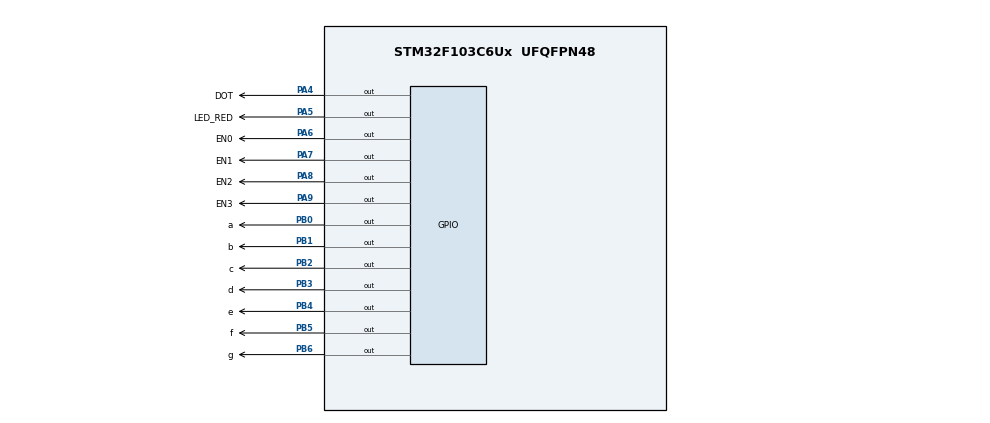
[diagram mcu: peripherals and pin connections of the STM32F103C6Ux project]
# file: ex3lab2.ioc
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Mcu.Family=STM32F1
Mcu.Name=STM32F103C6Ux
Mcu.Package=UFQFPN48
NVIC.PriorityGroup=NVIC_PRIORITYGROUP_4
NVIC.TIM2_IRQn=true\:0\:0\:false\:false\:true\:true\:true
PA4.GPIO_Label=DOT
PA4.Signal=GPIO_Output
PA5.GPIO_Label=LED_RED
PA5.Signal=GPIO_Output
PA6.GPIO_Label=EN0
PA6.Signal=GPIO_Output
PA7.GPIO_Label=EN1
PA7.Signal=GPIO_Output
PA8.GPIO_Label=EN2
PA8.Signal=GPIO_Output
PA9.GPIO_Label=EN3
PA9.Signal=GPIO_Output
PB0.GPIO_Label=a
PB0.Signal=GPIO_Output
PB1.GPIO_Label=b
PB1.Signal=GPIO_Output
PB2.GPIO_Label=c
PB2.Signal=GPIO_Output
PB3.GPIO_Label=d
PB3.Signal=GPIO_Output
PB4.GPIO_Label=e
PB4.Signal=GPIO_Output
PB5.GPIO_Label=f
PB5.Signal=GPIO_Output
PB6.GPIO_Label=g
PB6.Signal=GPIO_Output
ProjectManager.HeapSize=0x200
ProjectManager.StackSize=0x400
ProjectManager.TargetToolchain=STM32CubeIDE
RCC.APB1Freq_Value=8000000
RCC.APB2Freq_Value=8000000
TIM2.Period=9
TIM2.Prescaler=7999
VP_SYS_VS_ND.Mode=No_Debug
VP_TIM2_VS_ClockSourceINT.Mode=Internal
board=custom

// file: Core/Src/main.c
/* USER CODE BEGIN Header */
/**
  ******************************************************************************
  * @file           : main.c
  * @brief          : Main program body
  ******************************************************************************
  * @attention
  *
  * <h2><center>&copy; Copyright (c) 2024 STMicroelectronics.
  * All rights reserved.</center></h2>
  *
  * This software component is licensed by ST under BSD 3-Clause license,
  * the "License"; You may not use this file except in compliance with the
  * License. You may obtain a copy of the License at:
  *                        opensource.org/licenses/BSD-3-Clause
  *
  ******************************************************************************
  */
/* USER CODE END Header */
#include "main.h"

TIM_HandleTypeDef htim2;

void SystemClock_Config(void);
static void MX_GPIO_Init(void);
static void MX_TIM2_Init(void);

int main(void)
{

  /* MCU Configuration--------------------------------------------------------*/

  /* Reset of all peripherals, Initializes the Flash interface and the Systick. */
  HAL_Init();

  /* Configure the system clock */
  SystemClock_Config();

  /* Initialize all configured peripherals */
  MX_GPIO_Init();
  MX_TIM2_Init();
  /* USER CODE BEGIN 2 */
HAL_TIM_Base_Start_IT(&htim2);
  /* USER CODE END 2 */

  /* Infinite loop */
  while (1)
  {

  }
}

void SystemClock_Config(void)
{
  RCC_OscInitTypeDef RCC_OscInitStruct = {0};
  RCC_ClkInitTypeDef RCC_ClkInitStruct = {0};

  /** Initializes the RCC Oscillators according to the specified parameters
  * in the RCC_OscInitTypeDef structure.
  */
  RCC_OscInitStruct.OscillatorType = RCC_OSCILLATORTYPE_HSI;
  RCC_OscInitStruct.HSIState = RCC_HSI_ON;
  RCC_OscInitStruct.HSICalibrationValue = RCC_HSICALIBRATION_DEFAULT;
  RCC_OscInitStruct.PLL.PLLState = RCC_PLL_NONE;
  if (HAL_RCC_OscConfig(&RCC_OscInitStruct) != HAL_OK)
  {
    Error_Handler();
  }
  /** Initializes the CPU, AHB and APB buses clocks
  */
  RCC_ClkInitStruct.ClockType = RCC_CLOCKTYPE_HCLK|RCC_CLOCKTYPE_SYSCLK
                              |RCC_CLOCKTYPE_PCLK1|RCC_CLOCKTYPE_PCLK2;
  RCC_ClkInitStruct.SYSCLKSource = RCC_SYSCLKSOURCE_HSI;
  RCC_ClkInitStruct.AHBCLKDivider = RCC_SYSCLK_DIV1;
  RCC_ClkInitStruct.APB1CLKDivider = RCC_HCLK_DIV1;
  RCC_ClkInitStruct.APB2CLKDivider = RCC_HCLK_DIV1;

  if (HAL_RCC_ClockConfig(&RCC_ClkInitStruct, FLASH_LATENCY_0) != HAL_OK)
  {
    Error_Handler();
  }
}

static void MX_TIM2_Init(void)
{

  TIM_ClockConfigTypeDef sClockSourceConfig = {0};
  TIM_MasterConfigTypeDef sMasterConfig = {0};

  htim2.Instance = TIM2;
  htim2.Init.Prescaler = 7999;
  htim2.Init.CounterMode = TIM_COUNTERMODE_UP;
  htim2.Init.Period = 9;
  htim2.Init.ClockDivision = TIM_CLOCKDIVISION_DIV1;
  htim2.Init.AutoReloadPreload = TIM_AUTORELOAD_PRELOAD_DISABLE;
  if (HAL_TIM_Base_Init(&htim2) != HAL_OK)
  {
    Error_Handler();
  }
  sClockSourceConfig.ClockSource = TIM_CLOCKSOURCE_INTERNAL;
  if (HAL_TIM_ConfigClockSource(&htim2, &sClockSourceConfig) != HAL_OK)
  {
    Error_Handler();
  }
  sMasterConfig.MasterOutputTrigger = TIM_TRGO_RESET;
  sMasterConfig.MasterSlaveMode = TIM_MASTERSLAVEMODE_DISABLE;
  if (HAL_TIMEx_MasterConfigSynchronization(&htim2, &sMasterConfig) != HAL_OK)
  {
    Error_Handler();
  }

}

static void MX_GPIO_Init(void)
{
  GPIO_InitTypeDef GPIO_InitStruct = {0};

  /* GPIO Ports Clock Enable */
  __HAL_RCC_GPIOA_CLK_ENABLE();
  __HAL_RCC_GPIOB_CLK_ENABLE();

  /*Configure GPIO pin Output Level */
  HAL_GPIO_WritePin(GPIOA, DOT_Pin|LED_RED_Pin|EN0_Pin|EN1_Pin
                          |EN2_Pin|EN3_Pin, GPIO_PIN_RESET);

  /*Configure GPIO pin Output Level */
  HAL_GPIO_WritePin(GPIOB, a_Pin|b_Pin|c_Pin|d_Pin
                          |e_Pin|f_Pin|g_Pin, GPIO_PIN_RESET);

  /*Configure GPIO pins : DOT_Pin LED_RED_Pin EN0_Pin EN1_Pin
                           EN2_Pin EN3_Pin */
  GPIO_InitStruct.Pin = DOT_Pin|LED_RED_Pin|EN0_Pin|EN1_Pin
                          |EN2_Pin|EN3_Pin;
  GPIO_InitStruct.Mode = GPIO_MODE_OUTPUT_PP;
  GPIO_InitStruct.Pull = GPIO_NOPULL;
  GPIO_InitStruct.Speed = GPIO_SPEED_FREQ_LOW;
  HAL_GPIO_Init(GPIOA, &GPIO_InitStruct);

  /*Configure GPIO pins : a_Pin b_Pin c_Pin d_Pin
                           e_Pin f_Pin g_Pin */
  GPIO_InitStruct.Pin = a_Pin|b_Pin|c_Pin|d_Pin
                          |e_Pin|f_Pin|g_Pin;
  GPIO_InitStruct.Mode = GPIO_MODE_OUTPUT_PP;
  GPIO_InitStruct.Pull = GPIO_NOPULL;
  GPIO_InitStruct.Speed = GPIO_SPEED_FREQ_LOW;
  HAL_GPIO_Init(GPIOB, &GPIO_InitStruct);

}

/* USER CODE BEGIN 4 */
void display7SEG(int num)
 {
	  if(num == 0)
	  {
		  HAL_GPIO_WritePin(a_GPIO_Port, a_Pin,GPIO_PIN_RESET);
		  HAL_GPIO_WritePin(b_GPIO_Port, b_Pin,GPIO_PIN_RESET);
		  HAL_GPIO_WritePin(c_GPIO_Port, c_Pin,GPIO_PIN_RESET);
		  HAL_GPIO_WritePin(d_GPIO_Port, d_Pin,GPIO_PIN_RESET);
		  HAL_GPIO_WritePin(e_GPIO_Port, e_Pin,GPIO_PIN_RESET);
		  HAL_GPIO_WritePin(f_GPIO_Port, f_Pin,GPIO_PIN_RESET);
		  HAL_GPIO_WritePin(g_GPIO_Port, g_Pin,GPIO_PIN_SET);

	  }
	  if(num == 1)
	  {
		  HAL_GPIO_WritePin(a_GPIO_Port, a_Pin,GPIO_PIN_SET);
		  HAL_GPIO_WritePin(b_GPIO_Port, b_Pin,GPIO_PIN_RESET);
		  HAL_GPIO_WritePin(c_GPIO_Port, c_Pin,GPIO_PIN_RESET);
		  HAL_GPIO_WritePin(d_GPIO_Port, d_Pin,GPIO_PIN_SET);
		  HAL_GPIO_WritePin(e_GPIO_Port, e_Pin,GPIO_PIN_SET);
		  HAL_GPIO_WritePin(f_GPIO_Port, f_Pin,GPIO_PIN_SET);
		  HAL_GPIO_WritePin(g_GPIO_Port, g_Pin,GPIO_PIN_SET);
	  }
	  if(num == 2)
	  {
		  HAL_GPIO_WritePin(a_GPIO_Port, a_Pin,GPIO_PIN_RESET);
		  HAL_GPIO_WritePin(b_GPIO_Port, b_Pin,GPIO_PIN_RESET);
		  HAL_GPIO_WritePin(c_GPIO_Port, c_Pin,GPIO_PIN_SET);
		  HAL_GPIO_WritePin(d_GPIO_Port, d_Pin,GPIO_PIN_RESET);
		  HAL_GPIO_WritePin(e_GPIO_Port, e_Pin,GPIO_PIN_RESET);
		  HAL_GPIO_WritePin(f_GPIO_Port, f_Pin,GPIO_PIN_SET);
		  HAL_GPIO_WritePin(g_GPIO_Port, g_Pin,GPIO_PIN_RESET);
	  }
	  if(num == 3)
	  {
		  HAL_GPIO_WritePin(a_GPIO_Port, a_Pin,GPIO_PIN_RESET);
		  HAL_GPIO_WritePin(b_GPIO_Port, b_Pin,GPIO_PIN_RESET);
		  HAL_GPIO_WritePin(c_GPIO_Port, c_Pin,GPIO_PIN_RESET);
		  HAL_GPIO_WritePin(d_GPIO_Port, d_Pin,GPIO_PIN_RESET);
		  HAL_GPIO_WritePin(e_GPIO_Port, e_Pin,GPIO_PIN_SET);
		  HAL_GPIO_WritePin(f_GPIO_Port, f_Pin,GPIO_PIN_SET);
		  HAL_GPIO_WritePin(g_GPIO_Port, g_Pin,GPIO_PIN_RESET);
	  }
	  if(num == 4)
	  {
		  HAL_GPIO_WritePin(a_GPIO_Port, a_Pin,GPIO_PIN_SET);
		  HAL_GPIO_WritePin(b_GPIO_Port, b_Pin,GPIO_PIN_RESET);
		  HAL_GPIO_WritePin(c_GPIO_Port, c_Pin,GPIO_PIN_RESET);
		  HAL_GPIO_WritePin(d_GPIO_Port, d_Pin,GPIO_PIN_SET);
		  HAL_GPIO_WritePin(e_GPIO_Port, e_Pin,GPIO_PIN_SET);
		  HAL_GPIO_WritePin(f_GPIO_Port, f_Pin,GPIO_PIN_RESET);
		  HAL_GPIO_WritePin(g_GPIO_Port, g_Pin,GPIO_PIN_RESET);
	  }
	  if(num == 5)
	  {
		  HAL_GPIO_WritePin(a_GPIO_Port, a_Pin,GPIO_PIN_RESET);
		  HAL_GPIO_WritePin(b_GPIO_Port, b_Pin,GPIO_PIN_SET);
		  HAL_GPIO_WritePin(c_GPIO_Port, c_Pin,GPIO_PIN_RESET);
		  HAL_GPIO_WritePin(d_GPIO_Port, d_Pin,GPIO_PIN_RESET);
		  HAL_GPIO_WritePin(e_GPIO_Port, e_Pin,GPIO_PIN_SET);
		  HAL_GPIO_WritePin(f_GPIO_Port, f_Pin,GPIO_PIN_RESET);
		  HAL_GPIO_WritePin(g_GPIO_Port, g_Pin,GPIO_PIN_RESET);
	  }
	  if(num == 6)
	  {
		  HAL_GPIO_WritePin(a_GPIO_Port, a_Pin,GPIO_PIN_RESET);
		  HAL_GPIO_WritePin(b_GPIO_Port, b_Pin,GPIO_PIN_SET);
		  HAL_GPIO_WritePin(c_GPIO_Port, c_Pin,GPIO_PIN_RESET);
		  HAL_GPIO_WritePin(d_GPIO_Port, d_Pin,GPIO_PIN_RESET);
		  HAL_GPIO_WritePin(e_GPIO_Port, e_Pin,GPIO_PIN_RESET);
		  HAL_GPIO_WritePin(f_GPIO_Port, f_Pin,GPIO_PIN_RESET);
		  HAL_GPIO_WritePin(g_GPIO_Port, g_Pin,GPIO_PIN_RESET);
	  }
	  if(num == 7)
	  {
		  HAL_GPIO_WritePin(a_GPIO_Port, a_Pin,GPIO_PIN_RESET);
		  HAL_GPIO_WritePin(b_GPIO_Port, b_Pin,GPIO_PIN_RESET);
		  HAL_GPIO_WritePin(c_GPIO_Port, c_Pin,GPIO_PIN_RESET);
		  HAL_GPIO_WritePin(d_GPIO_Port, d_Pin,GPIO_PIN_SET);
		  HAL_GPIO_WritePin(e_GPIO_Port, e_Pin,GPIO_PIN_SET);
		  HAL_GPIO_WritePin(f_GPIO_Port, f_Pin,GPIO_PIN_SET);
		  HAL_GPIO_WritePin(g_GPIO_Port, g_Pin,GPIO_PIN_SET);
	  }
	  if(num == 8)
	  {
		  HAL_GPIO_WritePin(a_GPIO_Port, a_Pin,GPIO_PIN_RESET);
		  HAL_GPIO_WritePin(b_GPIO_Port, b_Pin,GPIO_PIN_RESET);
		  HAL_GPIO_WritePin(c_GPIO_Port, c_Pin,GPIO_PIN_RESET);
		  HAL_GPIO_WritePin(d_GPIO_Port, d_Pin,GPIO_PIN_RESET);
		  HAL_GPIO_WritePin(e_GPIO_Port, e_Pin,GPIO_PIN_RESET);
		  HAL_GPIO_WritePin(f_GPIO_Port, f_Pin,GPIO_PIN_RESET);
		  HAL_GPIO_WritePin(g_GPIO_Port, g_Pin,GPIO_PIN_RESET);
	  }
	  if(num == 9)
	  {
		  HAL_GPIO_WritePin(a_GPIO_Port, a_Pin,GPIO_PIN_RESET);
		  HAL_GPIO_WritePin(b_GPIO_Port, b_Pin,GPIO_PIN_RESET);
		  HAL_GPIO_WritePin(c_GPIO_Port, c_Pin,GPIO_PIN_RESET);
		  HAL_GPIO_WritePin(d_GPIO_Port, d_Pin,GPIO_PIN_RESET);
		  HAL_GPIO_WritePin(e_GPIO_Port, e_Pin,GPIO_PIN_SET);
		  HAL_GPIO_WritePin(f_GPIO_Port, f_Pin,GPIO_PIN_RESET);
		  HAL_GPIO_WritePin(g_GPIO_Port, g_Pin,GPIO_PIN_RESET);
	  }
	  else
	  {
		  return;
	  }

 }

const int MAX_LED = 4;
int index_led = 0;
int led_buffer [4] = {1, 2, 3, 4};
void update7SEG(int index)
{
	switch (index){
	case 0:
		   HAL_GPIO_WritePin(EN0_GPIO_Port,EN0_Pin,GPIO_PIN_RESET);
		   HAL_GPIO_WritePin(EN1_GPIO_Port, EN1_Pin, GPIO_PIN_SET);
		   HAL_GPIO_WritePin(EN2_GPIO_Port, EN2_Pin, GPIO_PIN_SET);
		   HAL_GPIO_WritePin(EN3_GPIO_Port, EN3_Pin, GPIO_PIN_SET);
			HAL_GPIO_TogglePin(LED_RED_GPIO_Port, LED_RED_Pin);
			HAL_GPIO_TogglePin(DOT_GPIO_Port, DOT_Pin);
         display7SEG(led_buffer[0]);
		break;
	case 1:
		   HAL_GPIO_WritePin(EN0_GPIO_Port,EN0_Pin,GPIO_PIN_SET);
		   HAL_GPIO_WritePin(EN1_GPIO_Port, EN1_Pin, GPIO_PIN_RESET);
		   HAL_GPIO_WritePin(EN2_GPIO_Port, EN2_Pin, GPIO_PIN_SET);
		   HAL_GPIO_WritePin(EN3_GPIO_Port, EN3_Pin, GPIO_PIN_SET);
		display7SEG(led_buffer[1]);
		break;
	case 2:
		   HAL_GPIO_WritePin(EN0_GPIO_Port,EN0_Pin,GPIO_PIN_SET);
		   HAL_GPIO_WritePin(EN2_GPIO_Port, EN2_Pin, GPIO_PIN_RESET);
		   HAL_GPIO_WritePin(EN1_GPIO_Port, EN1_Pin, GPIO_PIN_SET);
		   HAL_GPIO_WritePin(EN3_GPIO_Port, EN3_Pin, GPIO_PIN_SET);

		display7SEG(led_buffer[2]);
		break;
	case 3:
		   HAL_GPIO_WritePin(EN0_GPIO_Port,EN0_Pin,GPIO_PIN_SET);
		   HAL_GPIO_WritePin(EN3_GPIO_Port, EN3_Pin, GPIO_PIN_RESET);
		   HAL_GPIO_WritePin(EN2_GPIO_Port, EN2_Pin, GPIO_PIN_SET);
		   HAL_GPIO_WritePin(EN1_GPIO_Port, EN1_Pin, GPIO_PIN_SET);
			HAL_GPIO_TogglePin(LED_RED_GPIO_Port, LED_RED_Pin);
			HAL_GPIO_TogglePin(DOT_GPIO_Port, DOT_Pin);
		display7SEG(led_buffer[3]);
		break;
	default:
	    break;
	}
}

int counter = 50;
int change=1;
void HAL_TIM_PeriodElapsedCallback(TIM_HandleTypeDef *htim)
{
	counter--;
	if(counter <= 0)
	{
		counter = 25;
	    if(index_led <= 3 && index_led >= 0)
	    {update7SEG(index_led++);}
	    else
	    {
	    	if(index_led < 0) {index_led = 0;}
	    	if(index_led > 3 ) {index_led = 0;}
	    }

	}

}
/* USER CODE END 4 */

void Error_Handler(void)
{
  __disable_irq();
  while (1)
  {
  }
}

/************************ (C) COPYRIGHT STMicroelectronics *****END OF FILE****/
